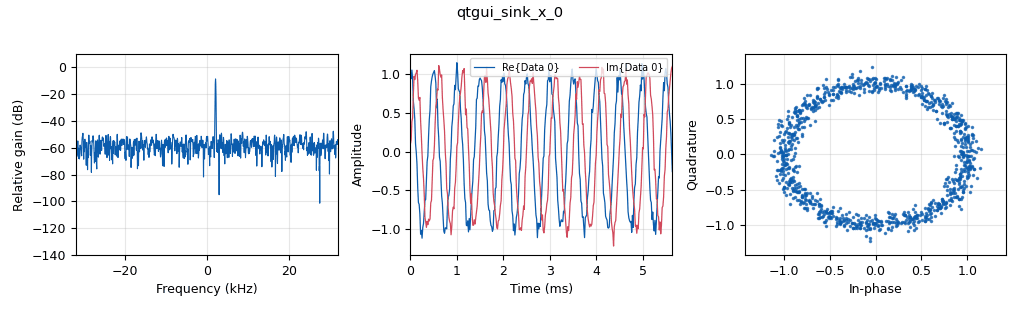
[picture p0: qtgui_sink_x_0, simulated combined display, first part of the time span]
options:
  parameters:
    generate_options: qt_gui
    id: ex1
    output_language: python
    title: Top Block
  states: {}

blocks:
- name: freq
  id: variable
  parameters:
    value: '2000'
  states: {}
- name: samp_rate
  id: variable
  parameters:
    value: '64000'
  states: {}
- name: analog_noise_source_x_0
  id: analog_noise_source_x
  parameters:
    amp: '.1'
    noise_type: analog.GR_GAUSSIAN
    seed: '0'
    type: complex
  states: {}
- name: analog_sig_source_x_0
  id: analog_sig_source_x
  parameters:
    amp: '1'
    freq: freq
    offset: '0'
    phase: '0'
    samp_rate: samp_rate
    type: complex
    waveform: analog.GR_COS_WAVE
  states: {}
- name: blocks_add_xx_0
  id: blocks_add_xx
  parameters:
    type: complex
  states: {}
- name: blocks_throttle2_0
  id: blocks_throttle2
  parameters:
    samples_per_second: samp_rate
    type: complex
  states: {}
- name: qtgui_sink_x_0
  id: qtgui_sink_x
  parameters:
    bw: samp_rate
    fc: '0'
    fftsize: '1024'
    type: complex
  states: {}

connections:
- [analog_noise_source_x_0, '0', blocks_add_xx_0, '1']
- [analog_sig_source_x_0, '0', blocks_add_xx_0, '0']
- [blocks_add_xx_0, '0', blocks_throttle2_0, '0']
- [blocks_throttle2_0, '0', qtgui_sink_x_0, '0']

metadata:
  file_format: 1
  grc_version: 3.10.7.0
